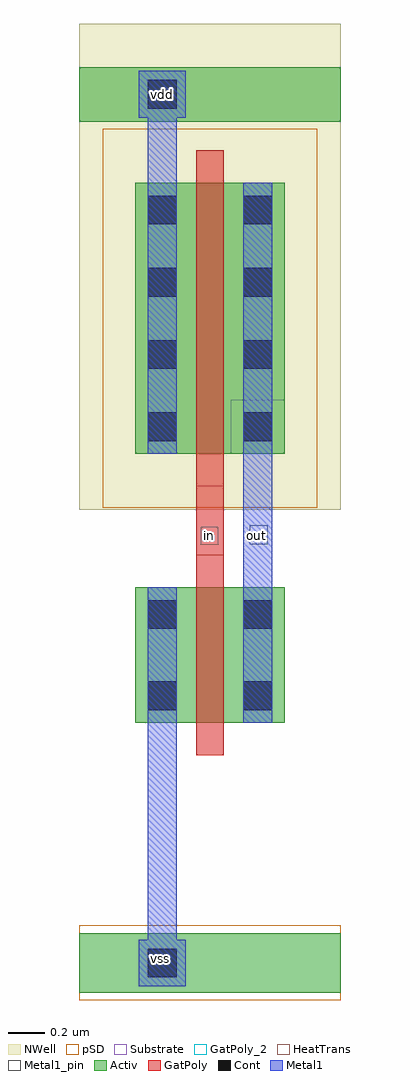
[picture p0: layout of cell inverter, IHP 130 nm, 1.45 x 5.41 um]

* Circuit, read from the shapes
.subckt inverter in out vdd vss
XM1 out in vss vss sg13_lv_nmos w=0.75u l=0.15u
XM2 out in vdd vdd sg13_lv_pmos w=1.5u l=0.15u
.ends

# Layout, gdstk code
import gdstk
lib = gdstk.Library(unit=1e-6, precision=5e-09)
def R(c, l, rs):  # rectangles x0, y0, x1, y1
    for r in rs: c.add(gdstk.rectangle(r[:2], r[2:], *l))
def A(c, l, x, y, w, h, nx, ny, dx, dy):  # array of equal rectangles
    R(c, l, [(x+i*dx, y+j*dy, x+i*dx+w, y+j*dy+h) for i in range(nx) for j in range(ny)])
Activ = (1, 0)
GatPoly = (5, 0)
GatPoly_2 = (5, 2)
Cont = (6, 0)
Metal1 = (8, 0)
Metal1_pin = (8, 2)
pSD = (14, 0)
NWell = (31, 0)
Substrate = (40, 0)
HeatTrans = (51, 0)

nmos = lib.new_cell('nmos')
R(nmos, Activ, [(0,0,0.3,0.3), (0,0,0.83,0.75), (0.53,0,0.83,0.3)])
R(nmos, GatPoly, [(0.34,-0.18,0.49,0.93)])
R(nmos, GatPoly_2, [(0.34,-0.18,0.49,0.93)])
R(nmos, Cont, [(0.07,0.07,0.23,0.23), (0.6,0.07,0.76,0.23), (0.07,0.52,0.23,0.68), (0.6,0.52,0.76,0.68)])
R(nmos, Metal1, [(0.07,0,0.23,0.75), (0.6,0,0.76,0.75)])
R(nmos, Metal1_pin, [(0.07,0,0.23,0.75), (0.6,0,0.76,0.75)])
R(nmos, HeatTrans, [(0.34,-0.18,0.49,0.93)])
nmos.add(gdstk.Label('nmos', (0.415,0.375), layer=63, texttype=0))
nmos.add(gdstk.Label('nmos', (0.415,0.375), layer=51, texttype=0))

pmos = lib.new_cell('pmos')
R(pmos, Activ, [(0,0,0.3,0.3), (0,0,0.83,1.5), (0.53,0,0.83,0.3)])
R(pmos, GatPoly, [(0.34,-0.18,0.49,1.68), (0.34,-0.18,0.49,1.68)])
A(pmos, Cont, 0.07, 0.07, 0.16, 0.16, 1, 4, 0, 0.4)
A(pmos, Cont, 0.6, 0.07, 0.16, 0.16, 1, 4, 0, 0.4)
R(pmos, Metal1, [(0.07,0,0.23,1.5), (0.07,0,0.23,1.5), (0.6,0,0.76,1.5), (0.6,0,0.76,1.5)])
R(pmos, pSD, [(-0.18,-0.3,1.01,1.8)])
R(pmos, NWell, [(-0.31,-0.31,1.14,1.81)])
R(pmos, Substrate, [(0.53,0,0.83,0.3)])
R(pmos, HeatTrans, [(0.34,-0.18,0.49,1.68)])
pmos.add(gdstk.Label('pmos', (0.415,0.75), layer=63, texttype=0))
pmos.add(gdstk.Label('pmos', (0.415,0.75), layer=51, texttype=0))

inverter = lib.new_cell('inverter')
R(inverter, Activ, [(-0.925,-2.62,0.525,-2.29), (-0.925,2.205,0.525,2.505)])
R(inverter, GatPoly, [(-0.275,-0.195,-0.125,0.185)])
R(inverter, GatPoly_2, [(-0.25,-0.14,-0.155,-0.04)])
R(inverter, Cont, [(-0.545,-2.535,-0.385,-2.375), (-0.545,-2.535,-0.385,-2.375), (-0.545,2.275,-0.385,2.435)])
R(inverter, Metal1, [(-0.595,-2.585,-0.335,-2.325), (-0.545,-2.325,-0.385,-0.845), (-0.015,-0.375,0.145,0.365), (-0.545,1.865,-0.385,2.275), (-0.595,2.225,-0.335,2.485)])
R(inverter, Metal1_pin, [(0.02,-0.135,0.12,-0.03)])
R(inverter, pSD, [(-0.925,-2.66,0.525,-2.245)])
R(inverter, NWell, [(-0.925,2.175,0.525,2.745)])
inverter.add(gdstk.Reference(nmos, (-0.615,-1.125)))
inverter.add(gdstk.Reference(pmos, (-0.615,0.365)))
inverter.add(gdstk.Label('vss', (-0.475,-2.43), layer=8, texttype=2))
inverter.add(gdstk.Label('vdd', (-0.465,2.355), layer=8, texttype=2))
inverter.add(gdstk.Label('out', (0.06,-0.09), layer=8, texttype=2))
inverter.add(gdstk.Label('in', (-0.205,-0.09), layer=5, texttype=2))

lib.write_gds('inverter.gds')
